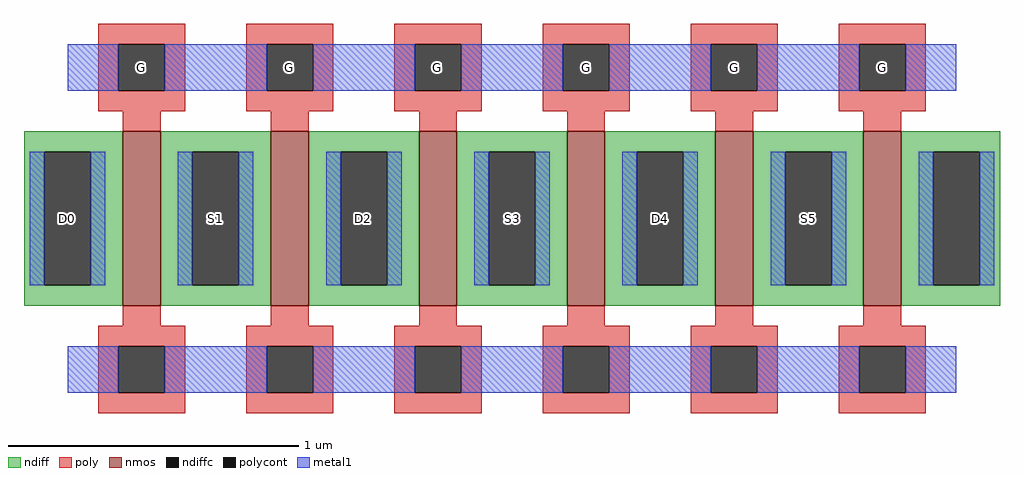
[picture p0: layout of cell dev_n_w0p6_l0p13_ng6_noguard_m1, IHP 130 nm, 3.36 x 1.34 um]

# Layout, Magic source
magic
tech ihp-sg13cmos5l
magscale 1 2
<< nmos >>
rect -268 -60 -242 60
rect -166 -60 -140 60
rect -64 -60 -38 60
rect 38 -60 64 60
rect 140 -60 166 60
rect 242 -60 268 60
<< ndiff >>
rect -336 46 -268 60
rect -336 -46 -322 46
rect -290 -46 -268 46
rect -336 -60 -268 -46
rect -242 46 -166 60
rect -242 -46 -220 46
rect -188 -46 -166 46
rect -242 -60 -166 -46
rect -140 46 -64 60
rect -140 -46 -118 46
rect -86 -46 -64 46
rect -140 -60 -64 -46
rect -38 46 38 60
rect -38 -46 -16 46
rect 16 -46 38 46
rect -38 -60 38 -46
rect 64 46 140 60
rect 64 -46 86 46
rect 118 -46 140 46
rect 64 -60 140 -46
rect 166 46 242 60
rect 166 -46 188 46
rect 220 -46 242 46
rect 166 -60 242 -46
rect 268 46 336 60
rect 268 -46 290 46
rect 322 -46 336 46
rect 268 -60 336 -46
<< ndiffc >>
rect -322 -46 -290 46
rect -220 -46 -188 46
rect -118 -46 -86 46
rect -16 -46 16 46
rect 86 -46 118 46
rect 188 -46 220 46
rect 290 -46 322 46
<< poly >>
rect -285 120 -225 134
rect -285 88 -271 120
rect -239 88 -225 120
rect -285 74 -225 88
rect -183 120 -123 134
rect -183 88 -169 120
rect -137 88 -123 120
rect -183 74 -123 88
rect -81 120 -21 134
rect -81 88 -67 120
rect -35 88 -21 120
rect -81 74 -21 88
rect 21 120 81 134
rect 21 88 35 120
rect 67 88 81 120
rect 21 74 81 88
rect 123 120 183 134
rect 123 88 137 120
rect 169 88 183 120
rect 123 74 183 88
rect 225 120 285 134
rect 225 88 239 120
rect 271 88 285 120
rect 225 74 285 88
rect -268 60 -242 74
rect -166 60 -140 74
rect -64 60 -38 74
rect 38 60 64 74
rect 140 60 166 74
rect 242 60 268 74
rect -268 -74 -242 -60
rect -166 -74 -140 -60
rect -64 -74 -38 -60
rect 38 -74 64 -60
rect 140 -74 166 -60
rect 242 -74 268 -60
rect -285 -88 -225 -74
rect -285 -120 -271 -88
rect -239 -120 -225 -88
rect -285 -134 -225 -120
rect -183 -88 -123 -74
rect -183 -120 -169 -88
rect -137 -120 -123 -88
rect -183 -134 -123 -120
rect -81 -88 -21 -74
rect -81 -120 -67 -88
rect -35 -120 -21 -88
rect -81 -134 -21 -120
rect 21 -88 81 -74
rect 21 -120 35 -88
rect 67 -120 81 -88
rect 21 -134 81 -120
rect 123 -88 183 -74
rect 123 -120 137 -88
rect 169 -120 183 -88
rect 123 -134 183 -120
rect 225 -88 285 -74
rect 225 -120 239 -88
rect 271 -120 285 -88
rect 225 -134 285 -120
<< polycont >>
rect -271 88 -239 120
rect -169 88 -137 120
rect -67 88 -35 120
rect 35 88 67 120
rect 137 88 169 120
rect 239 88 271 120
rect -271 -120 -239 -88
rect -169 -120 -137 -88
rect -67 -120 -35 -88
rect 35 -120 67 -88
rect 137 -120 169 -88
rect 239 -120 271 -88
<< metal1 >>
rect -306 88 -271 120
rect -239 88 -169 120
rect -137 88 -67 120
rect -35 88 35 120
rect 67 88 137 120
rect 169 88 239 120
rect 271 88 306 120
rect -332 -46 -322 46
rect -290 -46 -280 46
rect -230 -46 -220 46
rect -188 -46 -178 46
rect -128 -46 -118 46
rect -86 -46 -76 46
rect -26 -46 -16 46
rect 16 -46 26 46
rect 76 -46 86 46
rect 118 -46 128 46
rect 178 -46 188 46
rect 220 -46 230 46
rect 280 -46 290 46
rect 322 -46 332 46
rect -306 -120 -271 -88
rect -239 -120 -169 -88
rect -137 -120 -67 -88
rect -35 -120 35 -88
rect 67 -120 137 -88
rect 169 -120 239 -88
rect 271 -120 306 -88
<< labels >>
rlabel ndiffc -306 0 -306 0 0 D0
port 1 nsew
rlabel polycont -255 104 -255 104 0 G
port 2 nsew
rlabel ndiffc -204 0 -204 0 0 S1
port 3 nsew
rlabel polycont -153 104 -153 104 0 G
port 2 nsew
rlabel ndiffc -102 0 -102 0 0 D2
port 4 nsew
rlabel polycont -51 104 -51 104 0 G
port 2 nsew
rlabel ndiffc 0 0 0 0 0 S3
port 5 nsew
rlabel polycont 51 104 51 104 0 G
port 2 nsew
rlabel ndiffc 102 0 102 0 0 D4
port 6 nsew
rlabel polycont 153 104 153 104 0 G
port 2 nsew
rlabel ndiffc 204 0 204 0 0 S5
port 7 nsew
rlabel polycont 255 104 255 104 0 G
port 2 nsew
<< properties >>
string gencell sg13_lv_nmos
string library sg13cmos5l
string parameters w 0.6 l 0.13 m 1 ng 6 diffcov 100 polycov 100 guard 0 glc 1 grc 1 gtc 1 gbc 1 tbcov 100 rlcov 100 topc 1 botc 1 poverlap 0 doverlap 1 lmin 0.13 wmin 0.15 class mosfet compatible {sg13_lv_nmos sg13_hv_nmos} full_metal 1 conn_gates 1 gate_ring 0 doports 1 viasrc 0 viadrn 0 viagate 0 ccols 1 viagb 0 viagr 0 viagl 0 viagt 0
<< end >>
